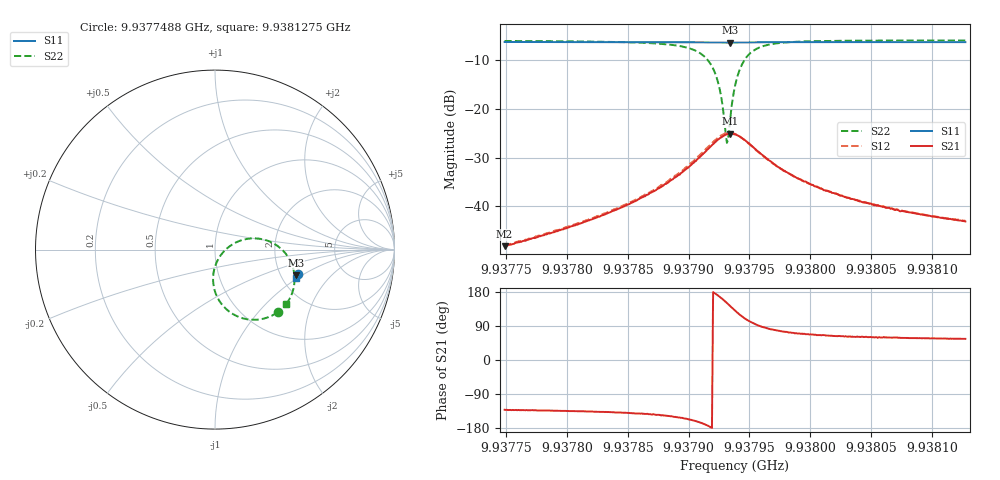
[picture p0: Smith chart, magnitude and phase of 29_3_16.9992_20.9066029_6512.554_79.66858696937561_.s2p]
#  HZ  S  RI  R  50.00
! Rohde & Schwarz Vector Network Analyzer
! Rohde-Schwarz,ZNB20-2Port,1311601062101988,3.16
! Created: UTC 3/20/2024, 10:53:19 PM
! freq[Hz]  re:S11  im:S11  re:S21  im:S21  re:S12  im:S12  re:S22  im:S22
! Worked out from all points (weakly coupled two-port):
!   401 points, 9.9377488 GHz to 9.9381275 GHz, reference 50 ohm
!   highest |S21| = -25.11 dB at 9.9379344 GHz (marker M1); lowest = -48.1 dB at 9.9377488 GHz (marker M2)
!   lowest |S11| = -6.5 dB at 9.9379344 GHz (marker M3), VSWR 2.80, Z = 121 - j44.8 ohm
!   |S11| at or under -10 dB: nowhere
!   |S22| runs from -27.0 to -6.0 dB; largest |S21 - S12| = 0.0046
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9.9377488e9  0.462 -0.1353  -0.0026 -0.00294  -0.00267 -0.00294  0.349 -0.3484
9.93781223e9  0.4602 -0.1399  -0.00483 -0.00477  -0.00501 -0.00481  0.3254 -0.363
9.93784726e9  0.459 -0.1424  -0.00764 -0.00657  -0.00793 -0.00665  0.2984 -0.376
9.93787566e9  0.4579 -0.1447  -0.0125 -0.00887  -0.0132 -0.00881  0.2527 -0.3883
9.93790027e9  0.4561 -0.1466  -0.0234 -0.01  -0.0247 -0.00992  0.16 -0.3843
9.93791447e9  0.454 -0.1473  -0.0366 -0.00554  -0.0388 -0.00444  0.0547 -0.3236
9.93792015e9  0.4529 -0.1471  -0.0434 0.00063  -0.0456 0.00315  0.00891 -0.2568
9.93792394e9  0.4521 -0.1466  -0.0473 0.00763  -0.049 0.0108  -0.00909 -0.1911
9.93792678e9  0.4519 -0.146  -0.0489 0.0141  -0.05 0.0182  -0.00881 -0.1325
9.93793057e9  0.4515 -0.145  -0.0484 0.0244  -0.0481 0.0289  0.02 -0.05
9.93793151e9  0.4515 -0.1449  -0.0475 0.0269  -0.0468 0.0315  0.032 -0.0312
9.93793246e9  0.4516 -0.1446  -0.0466 0.0297  -0.0454 0.0339  0.0467 -0.013
9.93793435e9  0.4516 -0.144  -0.0436 0.0344  -0.0418 0.0385  0.0807 0.0179
9.93793625e9  0.452 -0.1436  -0.0398 0.0383  -0.0374 0.0421  0.1195 0.0413
9.93793814e9  0.4524 -0.1432  -0.0354 0.0417  -0.0327 0.0447  0.161 0.056
9.93794098e9  0.4531 -0.1431  -0.0282 0.0446  -0.0251 0.0466  0.2224 0.0627
9.93794477e9  0.454 -0.1429  -0.0192 0.0453  -0.0161 0.0464  0.2932 0.0496
9.93795518e9  0.456 -0.144  -0.00259 0.0382  -0.000798 0.0379  0.4042 -0.0364
9.93797506e9  0.4566 -0.1467  0.00578 0.024  0.00651 0.0238  0.4435 -0.1587
9.93800157e9  0.4563 -0.1495  0.00643 0.0153  0.00686 0.0151  0.4342 -0.229
9.938065e9  0.4547 -0.1545  0.00496 0.00834  0.00506 0.00834  0.4093 -0.2849
9.93812748e9  0.453 -0.1586  0.00395 0.00581  0.00412 0.0058  0.3953 -0.305
